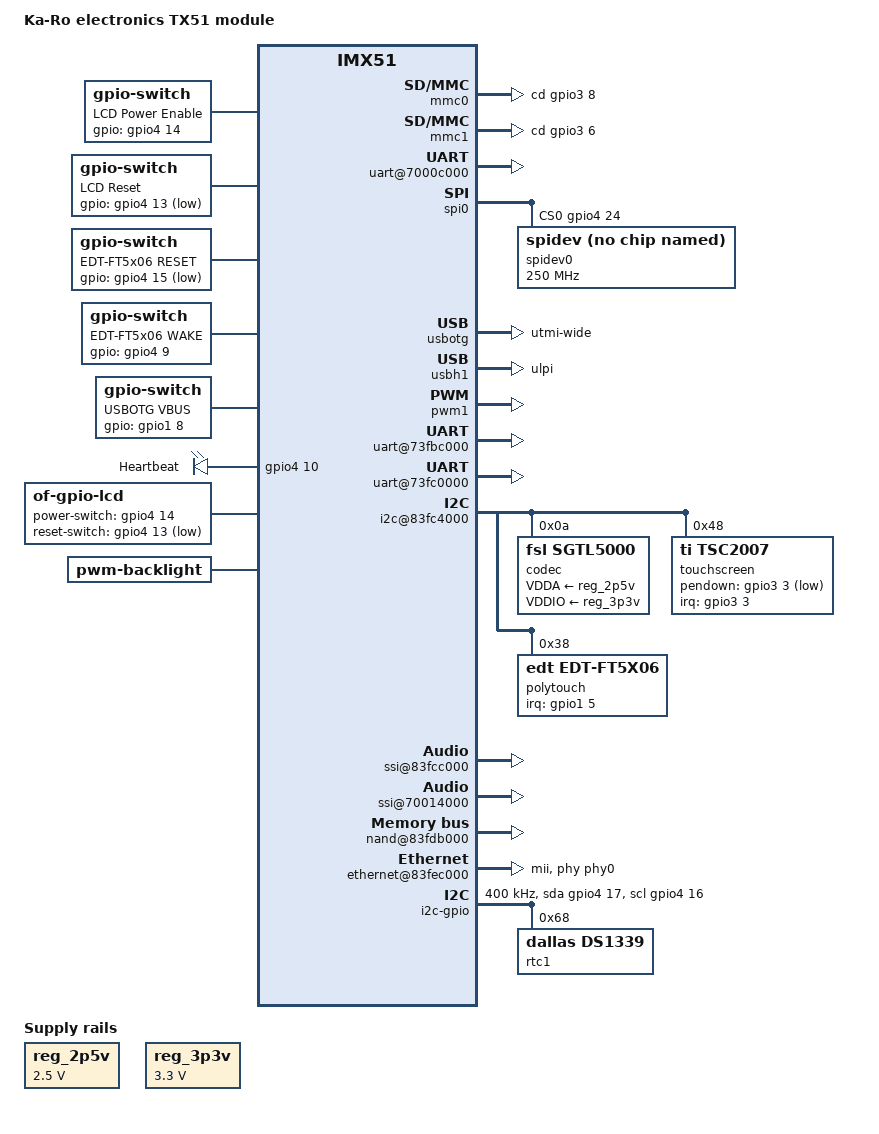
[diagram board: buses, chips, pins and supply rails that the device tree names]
/*
 * Copyright 2012 <LW@KARO-electronics.de>
 *
 * The code contained herein is licensed under the GNU General Public
 * License. You may obtain a copy of the GNU General Public License
 * Version 2 at the following locations:
 *
 * http://www.opensource.org/licenses/gpl-license.html
 * http://www.gnu.org/copyleft/gpl.html
 */

/dts-v1/;
#include "mx51.dtsi"

/ {
	model = "Ka-Ro electronics TX51 module";
	compatible = "karo,tx51", "fsl,imx51";

	chosen {
		bootargs = "init=/linuxrc console=ttymxc0,115200 root=/dev/mtdblock1 ro debug panic=1";
	};

	aliases {
		usbh1 = &usbh1;
		usbotg = &usbotg;
		usbphy = &usbphy;
	};

	clocks {
		ckih1 {
			clock-frequency = <0>;
		};
	};

	soc {
		ahb: ahb@40000000 {
			ipu: ipu@5e000000 {
				status = "okay";
			};
		};

		aips1: aips@70000000 { /* AIPS1 */
			spba@70000000 {
				mmc0: esdhc@70004000 { /* ESDHC1 */
					cd-gpios = <&gpio3 8 0>;
					fsl,wp-controller;
					status = "okay";
				};

				mmc1: esdhc@70008000 { /* ESDHC2 */
					cd-gpios = <&gpio3 6 0>;
					status = "okay";
				};

				uart@7000c000 {
					status = "okay";
					fsl,uart-has-rtscts;
				};

				spi0: ecspi@70010000 { /* ECSPI1 */
					fsl,spi-num-chipselects = <2>;
					cs-gpios = <&gpio4 24 0 &gpio4 25 0>;
					status = "okay";

					spidev0: spi@0 {
						compatible = "spidev";
						reg = <0>;
						spi-max-frequency = <250000000>;
					};
				};
			};

			usbotg: imxotg@73f80000 {
				status = "okay";

				ignore-overcurrent;
				enable-wakeup;
				phy-mode = "utmi-wide";
			};

			usbh1: imxotg@73f80200 {
				status = "okay";

				phy-mode = "ulpi";
				ignore-overcurrent;
				enable-wakeup;
				itc-no-threshold;
			};

			usbphy: imx-usb-phy@73f80800 {
				status = "okay";

				device-ports = <&usbotg>;
				host-ports = <&usbotg &usbh1>;
			};

			keypad@73f94000 {
				status = "okay";
				/* sample keymap */
				linux,keymap = < 0x00000074 /* row 0, col 0, KEY_POWER */
						 0x00010052 /* row 0, col 1, KEY_KP0 */
						 0x0002004f /* row 0, col 2, KEY_KP1 */
						 0x00030050 /* row 0, col 3, KEY_KP2 */
						 0x00040051 /* row 0, col 4, KEY_KP3 */
						 0x0100004b /* row 1, col 0, KEY_KP4 */
						 0x0101004c /* row 1, col 1, KEY_KP5 */
						 0x0102004d /* row 1, col 2, KEY_KP6 */
						 0x01030047 /* row 1, col 3, KEY_KP7 */
						 0x01040048 /* row 1, col 4, KEY_KP8 */
						 0x02000049 /* row 2, col 0, KEY_KP9 */
						 >;
			};

			wdog@73f98000 { /* WDOG1 */
				status = "okay";
			};

			iomuxc@73fa8000 {
				compatible = "fsl,imx51-iomuxc-tx51";
				reg = <0x73fa8000 0x4000>;
			};

			pwm1: pwm@73fb4000 {
				status = "okay";
			};

			uart@73fbc000 {
				status = "okay";
				fsl,uart-has-rtscts;
			};

			uart@73fc0000 {
				status = "okay";
				fsl,uart-has-rtscts;
			};
		};

		aips2: aips@80000000 {	/* AIPS2 */

			sdma@83fb0000 {
				fsl,sdma-ram-script-name = "sdma-imx51.bin";
			};

			i2c@83fc4000 { /* I2C2 */
				status = "okay";

				codec: sgtl5000@0a {
					compatible = "fsl,sgtl5000";
					reg = <0x0a>;
					VDDA-supply = <&reg_2p5v>;
					VDDIO-supply = <&reg_3p3v>;
				};

				touchscreen: tsc2007@48 {
					compatible = "ti,tsc2007";
					reg = <0x48>;
					interrupt-parent = <&gpio3>;
					interrupts = <3 0>;
					pendown-gpio = <&gpio3 3 1>;
					model = "2007";
					x-plate-ohms = <660>;
				};

				polytouch: edt-ft5x06@38 {
					compatible = "edt,edt-ft5x06";
					reg = <0x38>;
					interrupt-parent = <&gpio1>;
					interrupts = <5>;
					reset-switch = <&edt_ft5x06_reset>;
					wake-switch = <&edt_ft5x06_wake>;
				};
			};

			ssi@83fcc000 {
				status = "okay";
				rx-dma = <28>;
				tx-dma = <29>;
				i2s-sync-mode;
			};

			ssi@70014000 {
				status = "okay";
			};

			audmux@83fd0000 {
				status = "okay";
			};

			sound-card@0 {
				compatible = "fsl,imx-sgtl5000";
				status = "okay";
				/* '1' based port numbers according to datasheet names */
				ssi-port = <1>;
				audmux-port = <3>;
				sysclk = <26000000>;
			};

			nand@83fdb000 {
				status = "okay";

				nand-bus-width = <8>;
				nand-ecc-mode = "hw";
				nand-on-flash-bbt;
			};

			ethernet@83fec000 {
				phy-mode = "mii";
/*
				phy-reset-gpios = <&gpio2 14 0>;
*/
				status = "okay";
				phy-handle = <&phy0>;
				mac-address = [000000000000];

				phy0: ethernet-phy@0 {
					interrupt-parent = <&gpio3>;
					interrupts = <18>;
					device_type = "ethernet-phy";
				};
			};
		};
	};

	i2c-gpio {
		#address-cells = <1>;
		#size-cells = <0>;
		compatible = "i2c-gpio";
		gpios = <&gpio4 17 0
			 &gpio4 16 0>;
		clock-frequency = <400000>;

		rtc1: ds1339@68 {
			compatible = "dallas,ds1339";
			reg = <0x68>;
		};
	};

	gpio-switch {
		compatible = "gpio-switches", "simple-bus";
		#address-cells = <1>;
		#size-cells = <0>;
		lcd_power: gpio-switch@1 {
			compatible = "linux,gpio-switch";
			gpio = <&gpio4 14 0>;
			label = "LCD Power Enable";
			init-state = <0>;
		};

		lcd_reset: gpio-switch@2 {
			compatible = "linux,gpio-switch";
			gpio = <&gpio4 13 1>;
			label = "LCD Reset";
			init-state = <1>;
		};

		edt_ft5x06_reset: gpio-switch@3 {
			compatible = "linux,gpio-switch";
			gpio = <&gpio4 15 1>;
			label = "EDT-FT5x06 RESET";
		};

		edt_ft5x06_wake: gpio-switch@4 {
			compatible = "linux,gpio-switch";
			gpio = <&gpio4 9 0>;
			label = "EDT-FT5x06 WAKE";
			init-state = <1>;
		};

		usbotg_vbus: gpio-switch@5 {
			compatible = "linux,gpio-switch";
			gpio = <&gpio1 8 0>;
			label = "USBOTG VBUS";
		};
	};

	leds {
		compatible = "gpio-leds";

		user {
			label = "Heartbeat";
			gpios = <&gpio4 10 0>;
			linux,default-trigger = "heartbeat";
		};
	};

	lcd {
		compatible = "of-gpio-lcd";
		parent = <&ipu>;

		power-switch = <&gpio4 14 0>;
		reset-switch = <&gpio4 13 1>;
	};

	backlight: pwm-backlight {
		compatible = "pwm-backlight";

		pwm = <&pwm1>;
		inverted;
		max-brightness = <100>;
		dft-brightness = <50>;
		pwm-period-ns = <1000000>;
	};

	regulators {
		compatible = "simple-bus";

		reg_2p5v: 2p5v {
			compatible = "regulator-fixed";
			regulator-name = "2P5V";
			regulator-min-microvolt = <2500000>;
			regulator-max-microvolt = <2500000>;
			regulator-always-on;
		};

		reg_3p3v: 3p3v {
			compatible = "regulator-fixed";
			regulator-name = "3P3V";
			regulator-min-microvolt = <3300000>;
			regulator-max-microvolt = <3300000>;
			regulator-always-on;
		};
	};
};
